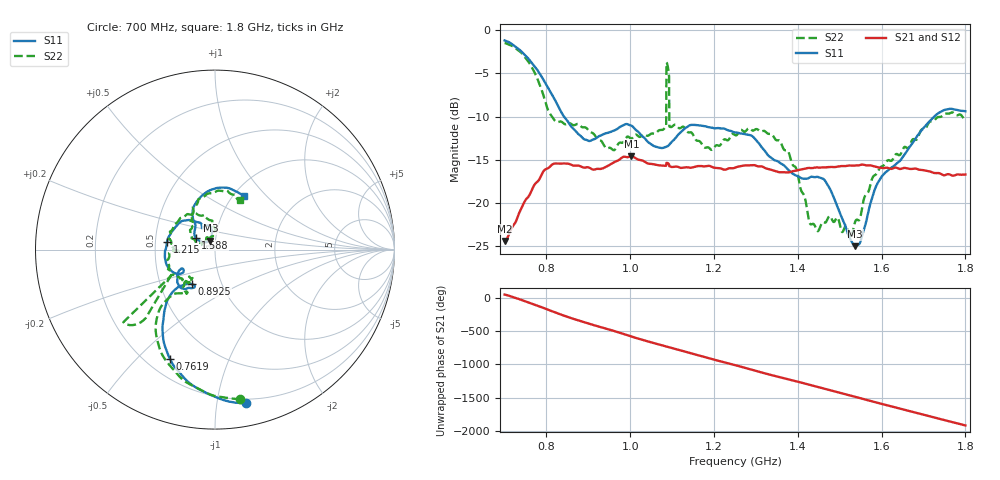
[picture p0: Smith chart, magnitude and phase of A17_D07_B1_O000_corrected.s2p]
! Created with skrf 1.9.0 (http://scikit-rf.org).
# Hz S RI R 50.0
!freq ReS11 ImS11 ReS21 ImS21 ReS12 ImS12 ReS22 ImS22
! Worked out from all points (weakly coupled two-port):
!   1601 points, 700 MHz to 1.8 GHz, reference 50 ohm
!   highest |S21| = -14.61 dB at 1.002 GHz (marker M1); lowest = -24.4 dB at 700 MHz (marker M2)
!   lowest |S11| = -25.0 dB at 1.537 GHz (marker M3), VSWR 1.12, Z = 47.2 + j4.71 ohm
!   |S11| at or under -10 dB: 841.8 MHz to 1.726 GHz (883.9 MHz wide, 68.9 % of centre)
!   |S22| runs from -24.1 to -1.5 dB; largest |S21 - S12| = 0.0035
!   S11 on the Smith chart (normalised r, x): 700 MHz: 0.17, -1.21; 761.9 MHz: 0.29, -0.63; 892.5 MHz: 0.72, -0.29; 1.215 GHz: 0.58, +0.06; 1.588 GHz: 0.80, +0.11; 1.8 GHz: 1.12, +0.75
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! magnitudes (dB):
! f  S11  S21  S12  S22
! 700 MHz  -1.2  -24.4  -24.2  -1.5
! 761.9 MHz  -3.6  -18.9  -18.8  -4.0
! 818.2 MHz  -7.9  -15.5  -15.6  -10.4
! 883.6 MHz  -12.3  -15.8  -15.7  -11.2
! 892.5 MHz  -12.7  -15.9  -16.0  -11.3
! 958.5 MHz  -11.7  -15.4  -15.4  -13.9
! 1.002 GHz  -11.1  -14.6  -14.7  -12.6
! 1.067 GHz  -13.6  -15.6  -15.6  -11.6
! 1.08 GHz  -13.6  -15.7  -15.7  -11.4
! 1.087 GHz  -13.5  -15.4  -15.3  -3.8
! 1.092 GHz  -13.3  -15.5  -15.5  -5.0
! 1.099 GHz  -12.9  -15.8  -15.8  -11.2
! 1.215 GHz  -11.4  -16.0  -16.0  -13.3
! 1.25 GHz  -11.8  -15.9  -15.9  -12.1
! 1.357 GHz  -15.4  -16.5  -16.4  -12.8
! 1.434 GHz  -17.0  -16.0  -15.9  -22.5
! 1.469 GHz  -17.8  -15.9  -15.9  -22.1
! 1.537 GHz  -25.0  -15.7  -15.7  -22.2
! 1.588 GHz  -17.9  -15.8  -15.8  -16.6
! 1.617 GHz  -16.2  -16.0  -16.0  -15.1
! 1.733 GHz  -9.7  -16.5  -16.6  -10.1
! 1.8 GHz  -9.4  -16.7  -16.7  -10.3
